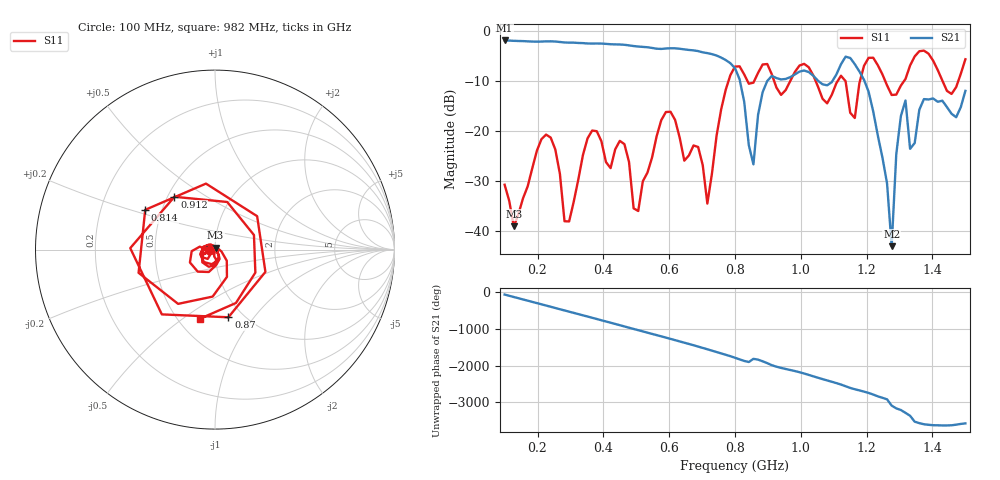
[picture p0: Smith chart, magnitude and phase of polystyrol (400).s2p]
! NanoVNA-App
! Date: 2025-09-25 15:33:00
! Start: 100MHz Stop: 1,5GHz Points: 101
! S-Parameter data: F S11 S21 S12 S22
# Hz S RI R 50
!  Frequency  S11_Real  S11_Imag  S21_Real  S21_Imag  S12_Real  S12_Imag  S22_Real  S22_Imag
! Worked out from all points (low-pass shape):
!   101 points, 100 MHz to 1.5 GHz, reference 50 ohm
!   highest |S21| = -1.80 dB at 100 MHz (marker M1); lowest = -43.0 dB at 1.276 GHz (marker M2)
!   |S21| within 3 dB of the highest: start of sweep to 743.1 MHz
!   lowest |S11| = -39.1 dB at 128 MHz (marker M3), VSWR 1.02, Z = 50.3 + j1.07 ohm
!   |S11| at or under -10 dB: start of sweep to 779.9 MHz; 1.045 GHz to 1.111 GHz (65.88 MHz wide, 6.11 % of centre); 1.257 GHz to 1.313 GHz (55.98 MHz wide, 4.36 % of centre) (the widest 3 of 7)
!   S12 and S22 are empty: the file has one direction only
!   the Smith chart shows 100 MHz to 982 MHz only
!   S11 on the Smith chart (normalised r, x): 100 MHz: 0.94, -0.01; 814 MHz: 0.40, +0.22; 870 MHz: 0.85, -0.76; 912 MHz: 0.54, +0.37; 982 MHz: 0.64, -0.58
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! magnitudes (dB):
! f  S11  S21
! 100 MHz  -30.7  -1.8
! 128 MHz  -39.1  -1.9
! 212 MHz  -21.6  -2.0
! 282 MHz  -38.0  -2.2
! 338 MHz  -24.8  -2.3
! 464 MHz  -22.6  -2.7
! 506 MHz  -36.0  -3.0
! 576 MHz  -17.8  -3.5
! 716 MHz  -34.5  -4.3
! 800 MHz  -7.0  -7.4
! 814 MHz  -7.0  -9.6
! 856 MHz  -10.3  -26.6
! 870 MHz  -8.3  -16.7
! 912 MHz  -8.6  -8.9
! 982 MHz  -8.1  -8.6
! 1.038 GHz  -8.8  -8.9
! 1.164 GHz  -17.3  -6.5
! 1.192 GHz  -6.9  -9.7
! 1.276 GHz  -12.7  -43.0
! 1.318 GHz  -9.5  -13.8
! 1.332 GHz  -6.8  -23.5
! 1.5 GHz  -5.6  -11.9
